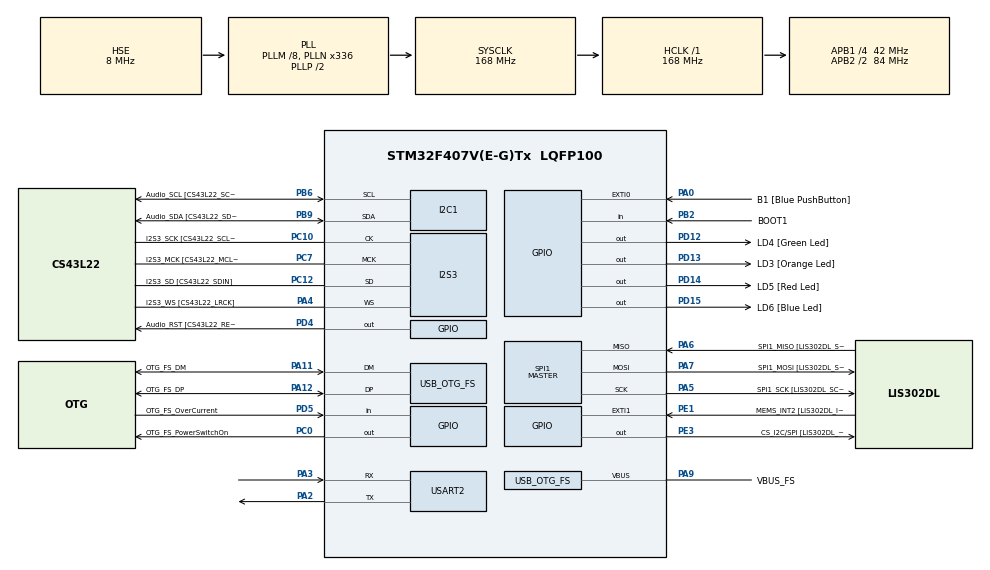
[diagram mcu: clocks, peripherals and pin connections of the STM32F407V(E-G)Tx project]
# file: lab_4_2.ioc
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FREERTOS.Tasks01=defaultTask,0,128,StartDefaultTask,Default,NULL,Dynamic,NULL,NULL
FREERTOS.configUSE_TIMERS=1
I2S3.AudioFreq-Half_Duplex_Master=I2S_AUDIOFREQ_96K
I2S3.ErrorAudioFreq=-2.34 %
I2S3.ErrorAudioFreq-Half_Duplex_Master=0.8 %
I2S3.FullDuplexMode=I2S_FULLDUPLEXMODE_DISABLE
I2S3.Instance=SPI$Index
I2S3.RealAudioFreq=93.75 KHz
I2S3.RealAudioFreq-Half_Duplex_Master=96.774 KHz
I2S3.VirtualMode=I2S_MODE_MASTER
Mcu.Family=STM32F4
Mcu.Name=STM32F407V(E-G)Tx
Mcu.Package=LQFP100
NVIC.OTG_FS_IRQn=true\:5\:0\:false\:false\:true\:true\:true\:true
NVIC.PriorityGroup=NVIC_PRIORITYGROUP_4
PA0-WKUP.GPIO_Label=B1 [Blue PushButton]
PA0-WKUP.GPIO_ModeDefaultEXTI=GPIO_MODE_EVT_RISING
PA0-WKUP.GPIO_PuPd=GPIO_NOPULL
PA0-WKUP.Signal=GPXTI0
PA10.GPIO_Label=OTG_FS_ID
PA10.GPIO_Mode=GPIO_MODE_AF_PP
PA10.GPIO_PuPd=GPIO_NOPULL
PA10.GPIO_Speed=GPIO_SPEED_FREQ_LOW
PA10.Signal=USB_OTG_FS_ID
PA11.GPIO_Label=OTG_FS_DM
PA11.GPIO_Mode=GPIO_MODE_AF_PP
PA11.GPIO_PuPd=GPIO_NOPULL
PA11.GPIO_Speed=GPIO_SPEED_FREQ_LOW
PA11.Mode=Host_Only
PA11.Signal=USB_OTG_FS_DM
PA12.GPIO_Label=OTG_FS_DP
PA12.GPIO_Mode=GPIO_MODE_AF_PP
PA12.GPIO_PuPd=GPIO_NOPULL
PA12.GPIO_Speed=GPIO_SPEED_FREQ_LOW
PA12.Mode=Host_Only
PA12.Signal=USB_OTG_FS_DP
PA13.GPIO_Label=SWDIO
PA13.Mode=Serial_Wire
PA13.Signal=SYS_JTMS-SWDIO
PA14.GPIO_Label=SWCLK
PA14.Mode=Serial_Wire
PA14.Signal=SYS_JTCK-SWCLK
PA2.Mode=Asynchronous
PA2.Signal=USART2_TX
PA3.Mode=Asynchronous
PA3.Signal=USART2_RX
PA4.GPIO_Label=I2S3_WS [CS43L22_LRCK]
PA4.GPIO_Mode=GPIO_MODE_AF_PP
PA4.GPIO_PuPd=GPIO_NOPULL
PA4.GPIO_Speed=GPIO_SPEED_FREQ_LOW
PA4.Mode=Half_Duplex_Master
PA4.Signal=I2S3_WS
PA5.GPIO_Label=SPI1_SCK [LIS302DL_SCL/SPC]
PA5.GPIO_Mode=GPIO_MODE_AF_PP
PA5.GPIO_PuPd=GPIO_NOPULL
PA5.GPIO_Speed=GPIO_SPEED_FREQ_LOW
PA5.Mode=Full_Duplex_Master
PA5.Signal=SPI1_SCK
PA6.GPIO_Label=SPI1_MISO [LIS302DL_SDO]
PA6.GPIO_Mode=GPIO_MODE_AF_PP
PA6.GPIO_PuPd=GPIO_NOPULL
PA6.GPIO_Speed=GPIO_SPEED_FREQ_LOW
PA6.Mode=Full_Duplex_Master
PA6.Signal=SPI1_MISO
PA7.GPIO_Label=SPI1_MOSI [LIS302DL_SDA/SDI/SDO]
PA7.GPIO_Mode=GPIO_MODE_AF_PP
PA7.GPIO_PuPd=GPIO_NOPULL
PA7.GPIO_Speed=GPIO_SPEED_FREQ_LOW
PA7.Mode=Full_Duplex_Master
PA7.Signal=SPI1_MOSI
PA9.GPIO_Label=VBUS_FS
PA9.GPIO_Mode=GPIO_MODE_INPUT
PA9.GPIO_PuPd=GPIO_NOPULL
PA9.Mode=Activate_VBUS
PA9.Signal=USB_OTG_FS_VBUS
PB10.GPIO_Label=CLK_IN [MP45DT02_CLK]
PB10.GPIO_Mode=GPIO_MODE_AF_PP
PB10.GPIO_PuPd=GPIO_NOPULL
PB10.GPIO_Speed=GPIO_SPEED_FREQ_LOW
PB10.Signal=I2S2_CK
PB2.GPIO_Label=BOOT1
PB2.GPIO_Mode=GPIO_MODE_INPUT
PB2.GPIO_PuPd=GPIO_NOPULL
PB2.Signal=GPIO_Input
PB3.GPIO_Label=SWO
PB3.Signal=SYS_JTDO-SWO
PB6.GPIO_Label=Audio_SCL [CS43L22_SCL]
PB6.GPIO_Mode=GPIO_MODE_AF_OD
PB6.GPIO_Pu=GPIO_PULLUP
PB6.GPIO_PuPd=GPIO_NOPULL
PB6.GPIO_Speed=GPIO_SPEED_FREQ_LOW
PB6.Mode=I2C
PB6.Signal=I2C1_SCL
PB9.GPIO_Label=Audio_SDA [CS43L22_SDA]
PB9.GPIO_Mode=GPIO_MODE_AF_OD
PB9.GPIO_Pu=GPIO_PULLUP
PB9.GPIO_PuPd=GPIO_NOPULL
PB9.GPIO_Speed=GPIO_SPEED_FREQ_LOW
PB9.Mode=I2C
PB9.Signal=I2C1_SDA
PC0.GPIO_Label=OTG_FS_PowerSwitchOn
PC0.GPIO_PuPd=GPIO_NOPULL
PC0.GPIO_Speed=GPIO_SPEED_FREQ_LOW
PC0.PinState=GPIO_PIN_SET
PC0.Signal=GPIO_Output
PC10.GPIO_Label=I2S3_SCK [CS43L22_SCLK]
PC10.GPIO_Mode=GPIO_MODE_AF_PP
PC10.GPIO_PuPd=GPIO_NOPULL
PC10.GPIO_Speed=GPIO_SPEED_FREQ_LOW
PC10.Mode=Half_Duplex_Master
PC10.Signal=I2S3_CK
PC12.GPIO_Label=I2S3_SD [CS43L22_SDIN]
PC12.GPIO_Mode=GPIO_MODE_AF_PP
PC12.GPIO_PuPd=GPIO_NOPULL
PC12.GPIO_Speed=GPIO_SPEED_FREQ_LOW
PC12.Mode=Half_Duplex_Master
PC12.Signal=I2S3_SD
PC14-OSC32_IN.GPIO_Label=PC14-OSC32_IN
PC14-OSC32_IN.Mode=LSE-External-Oscillator
PC14-OSC32_IN.Signal=RCC_OSC32_IN
PC15-OSC32_OUT.GPIO_Label=PC15-OSC32_OUT
PC15-OSC32_OUT.Mode=LSE-External-Oscillator
PC15-OSC32_OUT.Signal=RCC_OSC32_OUT
PC3.GPIO_Label=PDM_OUT [MP45DT02_DOUT]
PC3.GPIO_Mode=GPIO_MODE_AF_PP
PC3.GPIO_PuPd=GPIO_NOPULL
PC3.GPIO_Speed=GPIO_SPEED_FREQ_LOW
PC3.Signal=I2S2_SD
PC7.GPIO_Label=I2S3_MCK [CS43L22_MCLK]
PC7.GPIO_Mode=GPIO_MODE_AF_PP
PC7.GPIO_PuPd=GPIO_NOPULL
PC7.GPIO_Speed=GPIO_SPEED_FREQ_LOW
PC7.Mode=Master_Clock_Activated
PC7.Signal=I2S3_MCK
PD12.GPIO_Label=LD4 [Green Led]
PD12.GPIO_PuPd=GPIO_NOPULL
PD12.GPIO_Speed=GPIO_SPEED_FREQ_LOW
PD12.Signal=GPIO_Output
PD13.GPIO_Label=LD3 [Orange Led]
PD13.GPIO_PuPd=GPIO_NOPULL
PD13.GPIO_Speed=GPIO_SPEED_FREQ_LOW
PD13.Signal=GPIO_Output
PD14.GPIO_Label=LD5 [Red Led]
PD14.GPIO_PuPd=GPIO_NOPULL
PD14.GPIO_Speed=GPIO_SPEED_FREQ_LOW
PD14.Signal=GPIO_Output
PD15.GPIO_Label=LD6 [Blue Led]
PD15.GPIO_PuPd=GPIO_NOPULL
PD15.GPIO_Speed=GPIO_SPEED_FREQ_LOW
PD15.Signal=GPIO_Output
PD4.GPIO_Label=Audio_RST [CS43L22_RESET]
PD4.GPIO_PuPd=GPIO_NOPULL
PD4.GPIO_Speed=GPIO_SPEED_FREQ_LOW
PD4.Signal=GPIO_Output
PD5.GPIO_Label=OTG_FS_OverCurrent
PD5.GPIO_Mode=GPIO_MODE_INPUT
PD5.GPIO_PuPd=GPIO_NOPULL
PD5.Signal=GPIO_Input
PE1.GPIO_Label=MEMS_INT2 [LIS302DL_INT2]
PE1.GPIO_ModeDefaultEXTI=GPIO_MODE_EVT_RISING
PE1.GPIO_PuPd=GPIO_NOPULL
PE1.Signal=GPXTI1
PE3.GPIO_Label=CS_I2C/SPI [LIS302DL_CS_I2C/SPI]
PE3.GPIO_PuPd=GPIO_NOPULL
PE3.GPIO_Speed=GPIO_SPEED_FREQ_LOW
PE3.Signal=GPIO_Output
PH0-OSC_IN.GPIO_Label=PH0-OSC_IN
PH0-OSC_IN.Mode=HSE-External-Oscillator
PH0-OSC_IN.Signal=RCC_OSC_IN
PH1-OSC_OUT.GPIO_Label=PH1-OSC_OUT
PH1-OSC_OUT.Mode=HSE-External-Oscillator
PH1-OSC_OUT.Signal=RCC_OSC_OUT
ProjectManager.HeapSize=0x200
ProjectManager.StackSize=0x400
ProjectManager.TargetToolchain=STM32CubeIDE
RCC.48MHZClocksFreq_Value=48000000
RCC.AHBFreq_Value=168000000
RCC.APB1CLKDivider=RCC_HCLK_DIV4
RCC.APB1Freq_Value=42000000
RCC.APB1TimFreq_Value=84000000
RCC.APB2CLKDivider=RCC_HCLK_DIV2
RCC.APB2Freq_Value=84000000
RCC.APB2TimFreq_Value=168000000
RCC.CortexFreq_Value=168000000
RCC.HCLKFreq_Value=168000000
RCC.HSE_VALUE=8000000
RCC.HSI_VALUE=16000000
RCC.PLLM=8
RCC.PLLN=336
RCC.PLLQ=7
RCC.SYSCLKFreq_VALUE=168000000
RCC.SYSCLKSource=RCC_SYSCLKSOURCE_PLLCLK
RCC.VCOOutputFreq_Value=336000000
SPI1.BaudRatePrescaler-Full_Duplex_Master=SPI_BAUDRATEPRESCALER_2
SPI1.CalculateBaudRate-Full_Duplex_Master=42.0 MBits/s
SPI1.Direction=SPI_DIRECTION_2LINES
SPI1.Mode=SPI_MODE_MASTER
SPI1.Mode-Full_Duplex_Master=SPI_MODE_MASTER
SPI1.VirtualType=VM_MASTER
USART2.VirtualMode=VM_ASYNC
USB_HOST.BSP.number=1
USB_HOST.USBH_HandleTypeDef-CDC_FS=hUsbHostFS
USB_HOST.USBH_USE_OS-CDC_FS=0
USB_HOST.VirtualModeFS=Cdc
USB_HOST0.BSP.STBoard=false
USB_HOST0.BSP.api=Unknown
USB_HOST0.BSP.i2caddr=0
USB_HOST0.BSP.i2creg=0
USB_HOST0.BSP.instance=PC0
USB_HOST0.BSP.ip=GPIO
USB_HOST0.BSP.mode=Output
USB_HOST0.BSP.name=Drive_VBUS_FS
USB_HOST0.BSP.solution=PC0
USB_OTG_FS.VirtualMode=Host_Only
USB_OTG_FS.phy_itface=HCD_PHY_EMBEDDED
VP_FREERTOS_VS_CMSIS_V1.Mode=CMSIS_V1
VP_USB_HOST_VS_USB_HOST_CDC_FS.Mode=CDC_FS
board=STM32F407G-DISC1

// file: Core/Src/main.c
/* USER CODE BEGIN Header */
/**
 ******************************************************************************
 * @file           : main.c
 * @brief          : Main program body
 ******************************************************************************
 * @attention
 *
 * Copyright (c) 2022 STMicroelectronics.
 * All rights reserved.
 *
 * This software is licensed under terms that can be found in the LICENSE file
 * in the root directory of this software component.
 * If no LICENSE file comes with this software, it is provided AS-IS.
 *
 ******************************************************************************
 */
/* USER CODE END Header */
#include "main.h"
#include "cmsis_os.h"
#include "usb_host.h"

I2C_HandleTypeDef hi2c1;

I2S_HandleTypeDef hi2s3;

SPI_HandleTypeDef hspi1;

UART_HandleTypeDef huart2;

osThreadId defaultTaskHandle;

void SystemClock_Config(void);
static void MX_GPIO_Init(void);
static void MX_I2C1_Init(void);
static void MX_I2S3_Init(void);
static void MX_SPI1_Init(void);
static void MX_USART2_UART_Init(void);
void StartDefaultTask(void const *argument);

/* USER CODE BEGIN 0 */
void led_thread(void const *args) {
	HAL_GPIO_TogglePin(GPIOD, GPIO_PIN_12);
}

void letterA_thread(void const *args) {
	char c = 'A';
	HAL_UART_Transmit(&huart2, &c, 1, 100);
}

void letterB_thread(void const *args) {
	char c = 'B';
	HAL_UART_Transmit(&huart2, &c, 1, 100);
}

osTimerDef(led, led_thread);
osTimerDef(letterA, letterA_thread);
osTimerDef(letterB, letterB_thread);
/* USER CODE END 0 */

int main(void) {

	/* MCU Configuration--------------------------------------------------------*/

	/* Reset of all peripherals, Initializes the Flash interface and the Systick. */
	HAL_Init();

	/* Configure the system clock */
	SystemClock_Config();

	/* Initialize all configured peripherals */
	MX_GPIO_Init();
	MX_I2C1_Init();
	MX_I2S3_Init();
	MX_SPI1_Init();
	MX_USART2_UART_Init();
	/* USER CODE BEGIN 2 */
	osTimerId timer_0 = osTimerCreate(osTimer(led), osTimerPeriodic, (void*) 0);
	osTimerId timer_1 = osTimerCreate(osTimer(letterA), osTimerPeriodic,
			(void*) 1);
	osTimerId timer_2 = osTimerCreate(osTimer(letterB), osTimerPeriodic,
			(void*) 2);

	osTimerStart(timer_0, 9);
	osTimerStart(timer_1, 50);
	osTimerStart(timer_2, 128);
	osDelay(osWaitForever);
	/* USER CODE END 2 */

	/* Create the thread(s) */
	/* definition and creation of defaultTask */
	osThreadDef(defaultTask, StartDefaultTask, osPriorityNormal, 0, 128);
	defaultTaskHandle = osThreadCreate(osThread(defaultTask), NULL);

	/* Start scheduler */
	osKernelStart();
	/* We should never get here as control is now taken by the scheduler */
	/* Infinite loop */
	while (1) {

	}
}

void SystemClock_Config(void) {
	RCC_OscInitTypeDef RCC_OscInitStruct = { 0 };
	RCC_ClkInitTypeDef RCC_ClkInitStruct = { 0 };

	/** Configure the main internal regulator output voltage
	 */
	__HAL_RCC_PWR_CLK_ENABLE();
	__HAL_PWR_VOLTAGESCALING_CONFIG(PWR_REGULATOR_VOLTAGE_SCALE1);
	/** Initializes the RCC Oscillators according to the specified parameters
	 * in the RCC_OscInitTypeDef structure.
	 */
	RCC_OscInitStruct.OscillatorType = RCC_OSCILLATORTYPE_HSE;
	RCC_OscInitStruct.HSEState = RCC_HSE_ON;
	RCC_OscInitStruct.PLL.PLLState = RCC_PLL_ON;
	RCC_OscInitStruct.PLL.PLLSource = RCC_PLLSOURCE_HSE;
	RCC_OscInitStruct.PLL.PLLM = 8;
	RCC_OscInitStruct.PLL.PLLN = 336;
	RCC_OscInitStruct.PLL.PLLP = RCC_PLLP_DIV2;
	RCC_OscInitStruct.PLL.PLLQ = 7;
	if (HAL_RCC_OscConfig(&RCC_OscInitStruct) != HAL_OK) {
		Error_Handler();
	}
	/** Initializes the CPU, AHB and APB buses clocks
	 */
	RCC_ClkInitStruct.ClockType = RCC_CLOCKTYPE_HCLK | RCC_CLOCKTYPE_SYSCLK
			| RCC_CLOCKTYPE_PCLK1 | RCC_CLOCKTYPE_PCLK2;
	RCC_ClkInitStruct.SYSCLKSource = RCC_SYSCLKSOURCE_PLLCLK;
	RCC_ClkInitStruct.AHBCLKDivider = RCC_SYSCLK_DIV1;
	RCC_ClkInitStruct.APB1CLKDivider = RCC_HCLK_DIV4;
	RCC_ClkInitStruct.APB2CLKDivider = RCC_HCLK_DIV2;

	if (HAL_RCC_ClockConfig(&RCC_ClkInitStruct, FLASH_LATENCY_5) != HAL_OK) {
		Error_Handler();
	}
}

static void MX_I2C1_Init(void) {

	hi2c1.Instance = I2C1;
	hi2c1.Init.ClockSpeed = 100000;
	hi2c1.Init.DutyCycle = I2C_DUTYCYCLE_2;
	hi2c1.Init.OwnAddress1 = 0;
	hi2c1.Init.AddressingMode = I2C_ADDRESSINGMODE_7BIT;
	hi2c1.Init.DualAddressMode = I2C_DUALADDRESS_DISABLE;
	hi2c1.Init.OwnAddress2 = 0;
	hi2c1.Init.GeneralCallMode = I2C_GENERALCALL_DISABLE;
	hi2c1.Init.NoStretchMode = I2C_NOSTRETCH_DISABLE;
	if (HAL_I2C_Init(&hi2c1) != HAL_OK) {
		Error_Handler();
	}

}

static void MX_I2S3_Init(void) {

	hi2s3.Instance = SPI3;
	hi2s3.Init.Mode = I2S_MODE_MASTER_TX;
	hi2s3.Init.Standard = I2S_STANDARD_PHILIPS;
	hi2s3.Init.DataFormat = I2S_DATAFORMAT_16B;
	hi2s3.Init.MCLKOutput = I2S_MCLKOUTPUT_ENABLE;
	hi2s3.Init.AudioFreq = I2S_AUDIOFREQ_96K;
	hi2s3.Init.CPOL = I2S_CPOL_LOW;
	hi2s3.Init.ClockSource = I2S_CLOCK_PLL;
	hi2s3.Init.FullDuplexMode = I2S_FULLDUPLEXMODE_DISABLE;
	if (HAL_I2S_Init(&hi2s3) != HAL_OK) {
		Error_Handler();
	}

}

static void MX_SPI1_Init(void) {

	/* SPI1 parameter configuration*/
	hspi1.Instance = SPI1;
	hspi1.Init.Mode = SPI_MODE_MASTER;
	hspi1.Init.Direction = SPI_DIRECTION_2LINES;
	hspi1.Init.DataSize = SPI_DATASIZE_8BIT;
	hspi1.Init.CLKPolarity = SPI_POLARITY_LOW;
	hspi1.Init.CLKPhase = SPI_PHASE_1EDGE;
	hspi1.Init.NSS = SPI_NSS_SOFT;
	hspi1.Init.BaudRatePrescaler = SPI_BAUDRATEPRESCALER_2;
	hspi1.Init.FirstBit = SPI_FIRSTBIT_MSB;
	hspi1.Init.TIMode = SPI_TIMODE_DISABLE;
	hspi1.Init.CRCCalculation = SPI_CRCCALCULATION_DISABLE;
	hspi1.Init.CRCPolynomial = 10;
	if (HAL_SPI_Init(&hspi1) != HAL_OK) {
		Error_Handler();
	}

}

static void MX_USART2_UART_Init(void) {

	huart2.Instance = USART2;
	huart2.Init.BaudRate = 115200;
	huart2.Init.WordLength = UART_WORDLENGTH_8B;
	huart2.Init.StopBits = UART_STOPBITS_1;
	huart2.Init.Parity = UART_PARITY_NONE;
	huart2.Init.Mode = UART_MODE_TX_RX;
	huart2.Init.HwFlowCtl = UART_HWCONTROL_NONE;
	huart2.Init.OverSampling = UART_OVERSAMPLING_16;
	if (HAL_UART_Init(&huart2) != HAL_OK) {
		Error_Handler();
	}

}

static void MX_GPIO_Init(void) {
	GPIO_InitTypeDef GPIO_InitStruct = { 0 };

	/* GPIO Ports Clock Enable */
	__HAL_RCC_GPIOE_CLK_ENABLE();
	__HAL_RCC_GPIOC_CLK_ENABLE();
	__HAL_RCC_GPIOH_CLK_ENABLE();
	__HAL_RCC_GPIOA_CLK_ENABLE();
	__HAL_RCC_GPIOB_CLK_ENABLE();
	__HAL_RCC_GPIOD_CLK_ENABLE();

	/*Configure GPIO pin Output Level */
	HAL_GPIO_WritePin(CS_I2C_SPI_GPIO_Port, CS_I2C_SPI_Pin, GPIO_PIN_RESET);

	/*Configure GPIO pin Output Level */
	HAL_GPIO_WritePin(OTG_FS_PowerSwitchOn_GPIO_Port, OTG_FS_PowerSwitchOn_Pin,
			GPIO_PIN_SET);

	/*Configure GPIO pin Output Level */
	HAL_GPIO_WritePin(GPIOD,
	LD4_Pin | LD3_Pin | LD5_Pin | LD6_Pin | Audio_RST_Pin, GPIO_PIN_RESET);

	/*Configure GPIO pin : CS_I2C_SPI_Pin */
	GPIO_InitStruct.Pin = CS_I2C_SPI_Pin;
	GPIO_InitStruct.Mode = GPIO_MODE_OUTPUT_PP;
	GPIO_InitStruct.Pull = GPIO_NOPULL;
	GPIO_InitStruct.Speed = GPIO_SPEED_FREQ_LOW;
	HAL_GPIO_Init(CS_I2C_SPI_GPIO_Port, &GPIO_InitStruct);

	/*Configure GPIO pin : OTG_FS_PowerSwitchOn_Pin */
	GPIO_InitStruct.Pin = OTG_FS_PowerSwitchOn_Pin;
	GPIO_InitStruct.Mode = GPIO_MODE_OUTPUT_PP;
	GPIO_InitStruct.Pull = GPIO_NOPULL;
	GPIO_InitStruct.Speed = GPIO_SPEED_FREQ_LOW;
	HAL_GPIO_Init(OTG_FS_PowerSwitchOn_GPIO_Port, &GPIO_InitStruct);

	/*Configure GPIO pin : PDM_OUT_Pin */
	GPIO_InitStruct.Pin = PDM_OUT_Pin;
	GPIO_InitStruct.Mode = GPIO_MODE_AF_PP;
	GPIO_InitStruct.Pull = GPIO_NOPULL;
	GPIO_InitStruct.Speed = GPIO_SPEED_FREQ_LOW;
	GPIO_InitStruct.Alternate = GPIO_AF5_SPI2;
	HAL_GPIO_Init(PDM_OUT_GPIO_Port, &GPIO_InitStruct);

	/*Configure GPIO pin : B1_Pin */
	GPIO_InitStruct.Pin = B1_Pin;
	GPIO_InitStruct.Mode = GPIO_MODE_EVT_RISING;
	GPIO_InitStruct.Pull = GPIO_NOPULL;
	HAL_GPIO_Init(B1_GPIO_Port, &GPIO_InitStruct);

	/*Configure GPIO pin : BOOT1_Pin */
	GPIO_InitStruct.Pin = BOOT1_Pin;
	GPIO_InitStruct.Mode = GPIO_MODE_INPUT;
	GPIO_InitStruct.Pull = GPIO_NOPULL;
	HAL_GPIO_Init(BOOT1_GPIO_Port, &GPIO_InitStruct);

	/*Configure GPIO pin : CLK_IN_Pin */
	GPIO_InitStruct.Pin = CLK_IN_Pin;
	GPIO_InitStruct.Mode = GPIO_MODE_AF_PP;
	GPIO_InitStruct.Pull = GPIO_NOPULL;
	GPIO_InitStruct.Speed = GPIO_SPEED_FREQ_LOW;
	GPIO_InitStruct.Alternate = GPIO_AF5_SPI2;
	HAL_GPIO_Init(CLK_IN_GPIO_Port, &GPIO_InitStruct);

	/*Configure GPIO pins : LD4_Pin LD3_Pin LD5_Pin LD6_Pin
	 Audio_RST_Pin */
	GPIO_InitStruct.Pin = LD4_Pin | LD3_Pin | LD5_Pin | LD6_Pin | Audio_RST_Pin;
	GPIO_InitStruct.Mode = GPIO_MODE_OUTPUT_PP;
	GPIO_InitStruct.Pull = GPIO_NOPULL;
	GPIO_InitStruct.Speed = GPIO_SPEED_FREQ_LOW;
	HAL_GPIO_Init(GPIOD, &GPIO_InitStruct);

	/*Configure GPIO pin : OTG_FS_OverCurrent_Pin */
	GPIO_InitStruct.Pin = OTG_FS_OverCurrent_Pin;
	GPIO_InitStruct.Mode = GPIO_MODE_INPUT;
	GPIO_InitStruct.Pull = GPIO_NOPULL;
	HAL_GPIO_Init(OTG_FS_OverCurrent_GPIO_Port, &GPIO_InitStruct);

	/*Configure GPIO pin : MEMS_INT2_Pin */
	GPIO_InitStruct.Pin = MEMS_INT2_Pin;
	GPIO_InitStruct.Mode = GPIO_MODE_EVT_RISING;
	GPIO_InitStruct.Pull = GPIO_NOPULL;
	HAL_GPIO_Init(MEMS_INT2_GPIO_Port, &GPIO_InitStruct);

}

void StartDefaultTask(void const *argument) {
	/* init code for USB_HOST */
	MX_USB_HOST_Init();
	for (;;) {
		osDelay(1);
	}
}

void Error_Handler(void) {
	__disable_irq();
	while (1) {
	}
}
